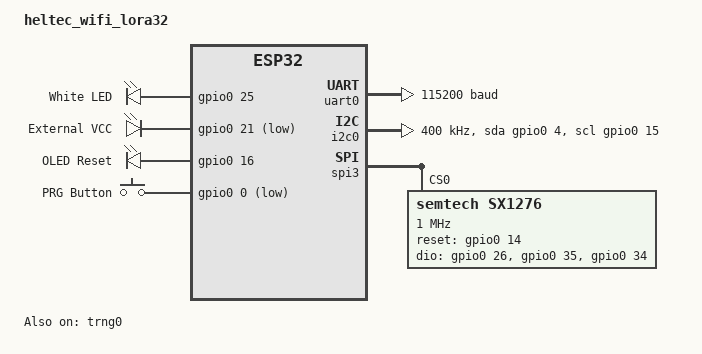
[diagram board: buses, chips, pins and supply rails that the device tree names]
/*
 * Copyright (c) 2021 Instituto de Pesquisas Eldorado (eldorado.org.br)
 *
 * SPDX-License-Identifier: Apache-2.0
 */
/dts-v1/;

#include <espressif/esp32.dtsi>
#include "heltec_wifi_lora32_v2-pinctrl.dtsi"

/ {
	model = "heltec_wifi_lora32";
	compatible = "espressif,esp32";

	aliases {
		uart-0 = &uart0;
		i2c-0 = &i2c0;
		led0 = &led0;
		sw0 = &button0;
		watchdog0 = &wdt0;
		lora0 = &lora;
	};

	leds {
		compatible = "gpio-leds";
		led0: led {
			gpios = <&gpio0 25 GPIO_ACTIVE_HIGH>;
			label = "White LED";
		};

		vext: vext {
			gpios = <&gpio0 21 (GPIO_PULL_UP | GPIO_ACTIVE_LOW)>;
			label = "External VCC";
		};

		oledrst: oledrst {
			gpios = <&gpio0 16 (GPIO_PULL_UP | GPIO_ACTIVE_HIGH)>;
			label = "OLED Reset";
		};

	};

	buttons {
		compatible = "gpio-keys";
		button0: button_0 {
			gpios = < &gpio0 0 (GPIO_PULL_UP | \
			   GPIO_ACTIVE_LOW)>;
			label = "PRG Button";
		};
	};

	chosen {
		zephyr,sram = &sram0;
		zephyr,console = &uart0;
		zephyr,shell-uart = &uart0;
		zephyr,flash = &flash0;
	};
};


&cpu0 {
	clock-frequency = <ESP32_CLK_CPU_240M>;
};

&cpu1 {
	clock-frequency = <ESP32_CLK_CPU_240M>;
};

&uart0 {
	status = "okay";
	current-speed = <115200>;
	pinctrl-0 = <&uart0_default>;
	pinctrl-names = "default";
};

&gpio0 {
	status = "okay";
};

&trng0 {
	status = "okay";
};

&i2c0 {
	status = "okay";
	clock-frequency = <I2C_BITRATE_FAST>;
	sda-gpios = <&gpio0 4 GPIO_OPEN_DRAIN>;
	scl-gpios = <&gpio0 15 GPIO_OPEN_DRAIN>;
	pinctrl-0 = <&i2c0_default>;
	pinctrl-names = "default";
};

&spi3 {
	#address-cells = <1>;
	#size-cells = <0>;
	status = "okay";
	pinctrl-0 = <&spim3_default>;
	pinctrl-names = "default";

	lora: lora@0 {
	// https://resource.heltec.cn/download/WiFi_LoRa_32/WIFI_LoRa_32_V2.pdf
	// https://resource.heltec.cn/download/WiFi_LoRa_32/V2
	//lora: lora@0 {
		compatible = "semtech,sx1276";
		reg = <0>;
		label = "sx1276";
		//reset-gpios = <&gpio0 14 (GPIO_PULL_UP | GPIO_ACTIVE_LOW)>;

		reset-gpios = <&gpio0 14 GPIO_ACTIVE_HIGH>;
		
		//reset-gpios = <&arduino_header 0 GPIO_ACTIVE_HIGH>;   /* A0 */

		// dio-gpios = <&gpio0 26 (GPIO_PULL_DOWN | GPIO_ACTIVE_HIGH)>,
		// 	<&gpio1 34 (GPIO_PULL_DOWN | GPIO_ACTIVE_HIGH)>,
		// 	<&gpio1 5 (GPIO_PULL_DOWN | GPIO_ACTIVE_HIGH)>;

		dio-gpios = <&gpio0 26 (GPIO_PULL_DOWN | GPIO_ACTIVE_HIGH)>,
					<&gpio0 35 (GPIO_PULL_DOWN | GPIO_ACTIVE_HIGH)>,
					<&gpio0 34 (GPIO_PULL_DOWN | GPIO_ACTIVE_HIGH)>;



                // dio-gpios = <&arduino_header 8 (GPIO_PULL_DOWN | GPIO_ACTIVE_HIGH)>,       /* DIO0 is D2 */
                //             <&arduino_header 9 (GPIO_PULL_DOWN | GPIO_ACTIVE_HIGH)>,       /* DIO1 is D3 */
                //             <&arduino_header 10 (GPIO_PULL_DOWN | GPIO_ACTIVE_HIGH)>,      /* DIO2 is D4 */
                //             <&arduino_header 11 (GPIO_PULL_DOWN | GPIO_ACTIVE_HIGH)>;      /* DIO3 is D5 */


		spi-max-frequency = <1000000>; //spi-max-frequency = <3000000>;
		
		power-amplifier-output = "pa-boost"; // power-amplifier-output = "rfo";
	};
};

// &spi3 {
// 	status = "okay";
// 	#address-cells = <1>;
// 	#size-cells = <0>;
// 	pinctrl-0 = <&spim3_miso_gpio19 &spim3_mosi_gpio27
// 						&spim3_sclk_gpio5 &spim3_csel_gpio18>;
// 	pinctrl-names = "default";

// 	//sclk-pin = <5>;
// 	//mosi-pin = <27>;
// 	//miso-pin = <19>;
// 	cs-gpios = <&gpio0 18 GPIO_ACTIVE_LOW>;
// 	//csel-pin = <18>;

// 	lora: sx1276@0 {
// 		compatible = "semtech,sx1276";
// 		reg = <0>;
// 		label = "sx1276";
// 		reset-gpios = <&gpio0 14 (GPIO_PULL_UP | GPIO_ACTIVE_LOW)>;
// 		dio-gpios = <&gpio0 26 (GPIO_PULL_DOWN | GPIO_ACTIVE_HIGH)>,
// 			<&gpio1 34 (GPIO_PULL_DOWN | GPIO_ACTIVE_HIGH)>,
// 			<&gpio1 5 (GPIO_PULL_DOWN | GPIO_ACTIVE_HIGH)>;
// 		spi-max-frequency = <1000000>;
// 		power-amplifier-output = "pa-boost";
// 	};
// };

&flash0 {
	status = "okay";
	partitions {
		compatible = "fixed-partitions";
		#address-cells = <1>;
		#size-cells = <1>;

		/* Reserve 60kB for the bootloader */
		boot_partition: partition@1000 {
			label = "mcuboot";
			reg = <0x00001000 0x0000F000>;
			read-only;
		};

		/* Reserve 1024kB for the application in slot 0 */
		slot0_partition: partition@10000 {
			label = "image-0";
			reg = <0x00010000 0x00100000>;
		};

		/* Reserve 1024kB for the application in slot 1 */
		slot1_partition: partition@110000 {
			label = "image-1";
			reg = <0x00110000 0x00100000>;
		};

		/* Reserve 256kB for the scratch partition */
		scratch_partition: partition@210000 {
			   label = "image-scratch";
			   reg = <0x00210000 0x00040000>;
		};

		storage_partition: partition@250000 {
			label = "storage";
			reg = <0x00250000 0x00006000>;
		};
	};
};

/* Required by the ssd1306_128x64 shield which enables the OLED display */
arduino_i2c: &i2c0 {};
